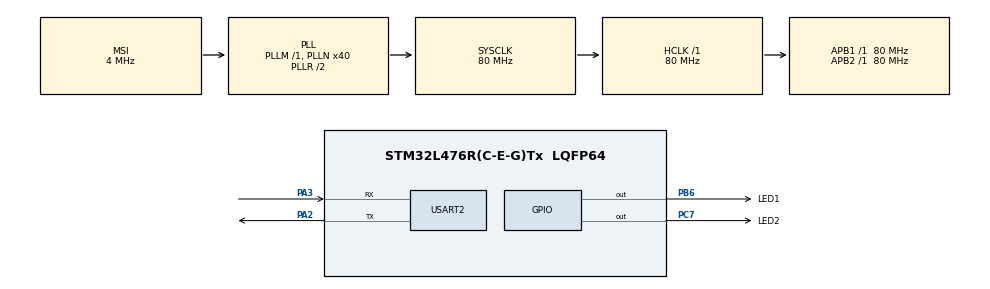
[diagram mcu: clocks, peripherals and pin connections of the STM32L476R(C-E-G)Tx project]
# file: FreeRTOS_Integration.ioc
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Mcu.Family=STM32L4
Mcu.Name=STM32L476R(C-E-G)Tx
Mcu.Package=LQFP64
NVIC.PriorityGroup=NVIC_PRIORITYGROUP_4
NVIC.TIM1_TRG_COM_TIM17_IRQn=true\:15\:0\:false\:false\:true\:false\:true\:true
NVIC.TimeBase=TIM1_TRG_COM_TIM17_IRQn
NVIC.TimeBaseIP=TIM17
PA2.Mode=Asynchronous
PA2.Signal=USART2_TX
PA3.Mode=Asynchronous
PA3.Signal=USART2_RX
PB6.GPIO_Label=LED1
PB6.Signal=GPIO_Output
PC7.GPIO_Label=LED2
PC7.Signal=GPIO_Output
ProjectManager.HeapSize=0x200
ProjectManager.StackSize=0x400
ProjectManager.TargetToolchain=CMake
RCC.ADCFreq_Value=16000000
RCC.AHBFreq_Value=80000000
RCC.APB1Freq_Value=80000000
RCC.APB1TimFreq_Value=80000000
RCC.APB2Freq_Value=80000000
RCC.APB2TimFreq_Value=80000000
RCC.CortexFreq_Value=80000000
RCC.HCLKFreq_Value=80000000
RCC.HSE_VALUE=8000000
RCC.HSI_VALUE=16000000
RCC.LSE_VALUE=32768
RCC.MSI_VALUE=4000000
RCC.PLLN=40
RCC.SYSCLKFreq_VALUE=80000000
RCC.SYSCLKSource=RCC_SYSCLKSOURCE_PLLCLK
RCC.USBFreq_Value=16000000
RCC.VCOOutputFreq_Value=160000000
TIM2.AutoReloadPreload=TIM_AUTORELOAD_PRELOAD_DISABLE
TIM2.ClockDivision=TIM_CLOCKDIVISION_DIV1
TIM2.CounterMode=TIM_COUNTERMODE_UP
TIM2.Prescaler=1
TIM2.TIM_MasterOutputTrigger=TIM_TRGO_UPDATE
USART2.VirtualMode-Asynchronous=VM_ASYNC
VP_SYS_VS_tim17.Mode=TIM17
VP_TIM2_VS_ClockSourceINT.Mode=Internal
VP_TIM5_VS_ClockSourceITR.Mode=TriggerSource_ITR0
VP_TIM5_VS_ControllerModeClock.Mode=Clock Mode
board=custom

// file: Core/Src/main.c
/* USER CODE BEGIN Header */
/**
 ******************************************************************************
 * @file           : main.c
 * @brief          : Main program body
 ******************************************************************************
 * @attention
 *
 * Copyright (c) 2024 STMicroelectronics.
 * All rights reserved.
 *
 * This software is licensed under terms that can be found in the LICENSE file
 * in the root directory of this software component.
 * If no LICENSE file comes with this software, it is provided AS-IS.
 *
 ******************************************************************************
 */
/* USER CODE END Header */
#include "main.h"

/* USER CODE BEGIN Includes */
#include "app.h"
#include "stm32l4xx_hal_tim.h"
/* USER CODE END Includes */

TIM_HandleTypeDef htim2;
TIM_HandleTypeDef htim5;

UART_HandleTypeDef huart2;

void SystemClock_Config(void);
static void MX_GPIO_Init(void);
static void MX_TIM2_Init(void);
static void MX_USART2_UART_Init(void);
static void MX_TIM5_Init(void);

int main(void) {

  /* MCU Configuration--------------------------------------------------------*/

  /* Reset of all peripherals, Initializes the Flash interface and the Systick. */
  HAL_Init();

  /* Configure the system clock */
  SystemClock_Config();

  /* Initialize all configured peripherals */
  MX_GPIO_Init();
  MX_TIM2_Init();
  MX_USART2_UART_Init();
  MX_TIM5_Init();
  /* USER CODE BEGIN 2 */

  // Start tim2 (for tracing timestamps):
  HAL_TIM_Base_Start_IT(&htim2);

  NVIC_SetPriority(SVCall_IRQn, 0U);

  if (rtos_init() != 0) Error_Handler();

  tband_isr_name(SysTick_IRQn + 15, "Tick");

  vTaskStartScheduler();

  /* USER CODE END 2 */

  /* Infinite loop */
  while (1) {

  }
}

void SystemClock_Config(void) {
  RCC_OscInitTypeDef RCC_OscInitStruct = {0};
  RCC_ClkInitTypeDef RCC_ClkInitStruct = {0};

  /** Configure the main internal regulator output voltage
   */
  if (HAL_PWREx_ControlVoltageScaling(PWR_REGULATOR_VOLTAGE_SCALE1) != HAL_OK) {
    Error_Handler();
  }

  /** Initializes the RCC Oscillators according to the specified parameters
   * in the RCC_OscInitTypeDef structure.
   */
  RCC_OscInitStruct.OscillatorType = RCC_OSCILLATORTYPE_MSI;
  RCC_OscInitStruct.MSIState = RCC_MSI_ON;
  RCC_OscInitStruct.MSICalibrationValue = 0;
  RCC_OscInitStruct.MSIClockRange = RCC_MSIRANGE_6;
  RCC_OscInitStruct.PLL.PLLState = RCC_PLL_ON;
  RCC_OscInitStruct.PLL.PLLSource = RCC_PLLSOURCE_MSI;
  RCC_OscInitStruct.PLL.PLLM = 1;
  RCC_OscInitStruct.PLL.PLLN = 40;
  RCC_OscInitStruct.PLL.PLLP = RCC_PLLP_DIV7;
  RCC_OscInitStruct.PLL.PLLQ = RCC_PLLQ_DIV2;
  RCC_OscInitStruct.PLL.PLLR = RCC_PLLR_DIV2;
  if (HAL_RCC_OscConfig(&RCC_OscInitStruct) != HAL_OK) {
    Error_Handler();
  }

  /** Initializes the CPU, AHB and APB buses clocks
   */
  RCC_ClkInitStruct.ClockType =
      RCC_CLOCKTYPE_HCLK | RCC_CLOCKTYPE_SYSCLK | RCC_CLOCKTYPE_PCLK1 | RCC_CLOCKTYPE_PCLK2;
  RCC_ClkInitStruct.SYSCLKSource = RCC_SYSCLKSOURCE_PLLCLK;
  RCC_ClkInitStruct.AHBCLKDivider = RCC_SYSCLK_DIV1;
  RCC_ClkInitStruct.APB1CLKDivider = RCC_HCLK_DIV1;
  RCC_ClkInitStruct.APB2CLKDivider = RCC_HCLK_DIV1;

  if (HAL_RCC_ClockConfig(&RCC_ClkInitStruct, FLASH_LATENCY_4) != HAL_OK) {
    Error_Handler();
  }
}

static void MX_TIM2_Init(void) {

  TIM_ClockConfigTypeDef sClockSourceConfig = {0};
  TIM_MasterConfigTypeDef sMasterConfig = {0};

  htim2.Instance = TIM2;
  htim2.Init.Prescaler = 0;
  htim2.Init.CounterMode = TIM_COUNTERMODE_UP;
  htim2.Init.Period = 4294967295;
  htim2.Init.ClockDivision = TIM_CLOCKDIVISION_DIV1;
  htim2.Init.AutoReloadPreload = TIM_AUTORELOAD_PRELOAD_DISABLE;
  if (HAL_TIM_Base_Init(&htim2) != HAL_OK) {
    Error_Handler();
  }
  sClockSourceConfig.ClockSource = TIM_CLOCKSOURCE_INTERNAL;
  if (HAL_TIM_ConfigClockSource(&htim2, &sClockSourceConfig) != HAL_OK) {
    Error_Handler();
  }
  sMasterConfig.MasterOutputTrigger = TIM_TRGO_UPDATE;
  sMasterConfig.MasterSlaveMode = TIM_MASTERSLAVEMODE_DISABLE;
  if (HAL_TIMEx_MasterConfigSynchronization(&htim2, &sMasterConfig) != HAL_OK) {
    Error_Handler();
  }
}

static void MX_TIM5_Init(void) {

  TIM_SlaveConfigTypeDef sSlaveConfig = {0};
  TIM_MasterConfigTypeDef sMasterConfig = {0};

  htim5.Instance = TIM5;
  htim5.Init.Prescaler = 0;
  htim5.Init.CounterMode = TIM_COUNTERMODE_UP;
  htim5.Init.Period = 4294967295;
  htim5.Init.ClockDivision = TIM_CLOCKDIVISION_DIV1;
  htim5.Init.AutoReloadPreload = TIM_AUTORELOAD_PRELOAD_DISABLE;
  if (HAL_TIM_Base_Init(&htim5) != HAL_OK) {
    Error_Handler();
  }
  sSlaveConfig.SlaveMode = TIM_SLAVEMODE_EXTERNAL1;
  sSlaveConfig.InputTrigger = TIM_TS_ITR0;
  if (HAL_TIM_SlaveConfigSynchro(&htim5, &sSlaveConfig) != HAL_OK) {
    Error_Handler();
  }
  sMasterConfig.MasterOutputTrigger = TIM_TRGO_RESET;
  sMasterConfig.MasterSlaveMode = TIM_MASTERSLAVEMODE_DISABLE;
  if (HAL_TIMEx_MasterConfigSynchronization(&htim5, &sMasterConfig) != HAL_OK) {
    Error_Handler();
  }
}

static void MX_USART2_UART_Init(void) {

  huart2.Instance = USART2;
  huart2.Init.BaudRate = 115200;
  huart2.Init.WordLength = UART_WORDLENGTH_8B;
  huart2.Init.StopBits = UART_STOPBITS_1;
  huart2.Init.Parity = UART_PARITY_NONE;
  huart2.Init.Mode = UART_MODE_TX_RX;
  huart2.Init.HwFlowCtl = UART_HWCONTROL_NONE;
  huart2.Init.OverSampling = UART_OVERSAMPLING_16;
  huart2.Init.OneBitSampling = UART_ONE_BIT_SAMPLE_DISABLE;
  huart2.AdvancedInit.AdvFeatureInit = UART_ADVFEATURE_NO_INIT;
  if (HAL_UART_Init(&huart2) != HAL_OK) {
    Error_Handler();
  }
}

static void MX_GPIO_Init(void) {
  GPIO_InitTypeDef GPIO_InitStruct = {0};

  /* GPIO Ports Clock Enable */
  __HAL_RCC_GPIOA_CLK_ENABLE();
  __HAL_RCC_GPIOC_CLK_ENABLE();
  __HAL_RCC_GPIOB_CLK_ENABLE();

  /*Configure GPIO pin Output Level */
  HAL_GPIO_WritePin(LED2_GPIO_Port, LED2_Pin, GPIO_PIN_RESET);

  /*Configure GPIO pin Output Level */
  HAL_GPIO_WritePin(LED1_GPIO_Port, LED1_Pin, GPIO_PIN_RESET);

  /*Configure GPIO pin : LED2_Pin */
  GPIO_InitStruct.Pin = LED2_Pin;
  GPIO_InitStruct.Mode = GPIO_MODE_OUTPUT_PP;
  GPIO_InitStruct.Pull = GPIO_NOPULL;
  GPIO_InitStruct.Speed = GPIO_SPEED_FREQ_LOW;
  HAL_GPIO_Init(LED2_GPIO_Port, &GPIO_InitStruct);

  /*Configure GPIO pin : LED1_Pin */
  GPIO_InitStruct.Pin = LED1_Pin;
  GPIO_InitStruct.Mode = GPIO_MODE_OUTPUT_PP;
  GPIO_InitStruct.Pull = GPIO_NOPULL;
  GPIO_InitStruct.Speed = GPIO_SPEED_FREQ_LOW;
  HAL_GPIO_Init(LED1_GPIO_Port, &GPIO_InitStruct);

}

/* USER CODE BEGIN 4 */

uint64_t traceport_timestamp(void) {
  uint32_t msb_a = htim5.Instance->CNT;
  uint32_t lsb_a = htim2.Instance->CNT;
  uint32_t msb_b = htim5.Instance->CNT;

  if (msb_a == msb_b) {
    uint64_t result = lsb_a | (((uint64_t)msb_a) << 32);
    return result;
  } else {
    uint32_t lsb_b = htim2.Instance->CNT;
    uint64_t result = lsb_b | (((uint64_t)msb_b) << 32);
    return result;
  }
}

volatile bool TRACING_SNAPSHOT_BUF_FULL = false;

void traceport_snapshot_done(void) { TRACING_SNAPSHOT_BUF_FULL = true; }

/* USER CODE END 4 */

void HAL_TIM_PeriodElapsedCallback(TIM_HandleTypeDef *htim) {
  if (htim->Instance == TIM17) {
    HAL_IncTick();
  }
}

void Error_Handler(void) {
  __disable_irq();
  while (1) {
  }
}
